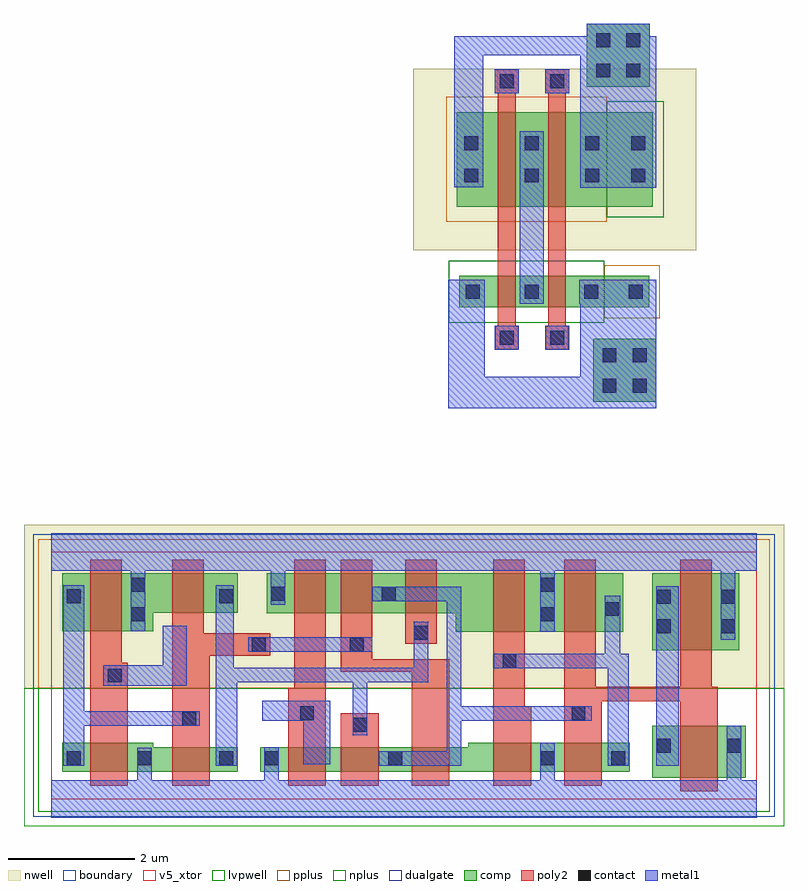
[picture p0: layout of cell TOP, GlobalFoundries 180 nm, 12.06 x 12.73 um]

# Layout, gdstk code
import gdstk
lib = gdstk.Library(unit=1e-6, precision=1e-09)
def R(c, l, rs):  # rectangles x0, y0, x1, y1
    for r in rs: c.add(gdstk.rectangle(r[:2], r[2:], *l))
def A(c, l, x, y, w, h, nx, ny, dx, dy):  # array of equal rectangles
    R(c, l, [(x+i*dx, y+j*dy, x+i*dx+w, y+j*dy+h) for i in range(nx) for j in range(ny)])
def P(c, l, *ps):  # polygons
    for p in ps: c.add(gdstk.Polygon(p, *l))
boundary = (0, 0)
nwell = (21, 0)
comp = (22, 0)
poly2 = (30, 0)
pplus = (31, 0)
nplus = (32, 0)
contact = (33, 0)
metal1 = (34, 0)
dualgate = (55, 0)
v5_xtor = (112, 1)
lvpwell = (204, 0)

gf180mcu_fd_sc_mcu7t5v0_ = lib.new_cell('gf180mcu_fd_sc_mcu7t5v0__latq_1')
R(gf180mcu_fd_sc_mcu7t5v0_, boundary, [(0,0,11.2,3.92)])
R(gf180mcu_fd_sc_mcu7t5v0_, nwell, [(-0.43,1.76,11.63,4.35)])
R(gf180mcu_fd_sc_mcu7t5v0_, comp, [(9.54,0.34,11.02,1.16), (9.54,2.36,10.92,3.58)])
P(gf180mcu_fd_sc_mcu7t5v0_, comp, [(0.18,0.435),(0.18,0.895),(1.62,0.895),(1.62,0.825),(2.96,0.825),(2.96,0.435)],
  [(0.18,2.66),(0.18,3.58),(2.96,3.58),(2.96,2.955),(1.62,2.955),(1.62,2.66)],
  [(6.42,2.655),(6.42,2.95),(3.42,2.95),(3.42,3.58),(9.08,3.58),(9.08,2.655)],
  [(3.32,0.43),(3.32,0.825),(6.62,0.825),(6.62,0.895),(9.18,0.895),(9.18,0.43)])
R(gf180mcu_fd_sc_mcu7t5v0_, poly2, [(4.6,0.21,5.2,1.36), (5.62,2.46,6.12,3.8)])
P(gf180mcu_fd_sc_mcu7t5v0_, poly2, [(0.62,0.21),(0.62,3.8),(1.12,3.8),(1.12,2.165),(1.22,2.165),(1.22,0.21)],
  [(1.92,0.21),(1.92,3.8),(2.42,3.8),(2.42,2.63),(3.475,2.63),(3.475,2.27),(2.52,2.27),(2.52,0.21)],
  [(3.76,0.21),(3.76,1.76),(3.86,1.76),(3.86,3.8),(4.36,3.8),(4.36,0.21)],
  [(5.72,0.21),(5.72,2.02),(4.6,2.02),(4.6,3.8),(5.1,3.8),(5.1,2.22),(6.32,2.22),(6.32,0.21)],
  [(7.02,0.21),(7.02,3.8),(7.52,3.8),(7.52,1.47),(7.62,1.47),(7.62,0.21)],
  [(9.98,0.12),(9.98,1.555),(8.74,1.555),(8.74,0.21),(8.14,0.21),(8.14,3.8),(8.64,3.8),(8.64,1.785),(9.98,1.785),(9.98,3.8),(10.48,3.8),(10.48,1.785),(10.58,1.785),(10.58,0.12)])
R(gf180mcu_fd_sc_mcu7t5v0_, pplus, [(-0.2,1.76,11.4,4.12)])
R(gf180mcu_fd_sc_mcu7t5v0_, nplus, [(-0.2,-0.2,11.4,1.76)])
R(gf180mcu_fd_sc_mcu7t5v0_, contact, [(0.25,0.535,0.47,0.755), (1.37,0.535,1.59,0.755), (2.67,0.535,2.89,0.755), (3.39,0.535,3.61,0.755), (5.35,0.535,5.57,0.755), (7.77,0.535,7.99,0.755), (8.89,0.535,9.11,0.755), (9.61,0.735,9.83,0.955), (10.73,0.735,10.95,0.955), (4.79,1.07,5.01,1.29), (2.08,1.165,2.3,1.385), (3.95,1.25,4.17,1.47), (8.26,1.25,8.48,1.47), (0.9,1.85,1.12,2.07), (7.165,2.08,7.385,2.3), (3.185,2.34,3.405,2.56), (4.74,2.34,4.96,2.56), (5.76,2.53,5.98,2.75), (9.61,2.63,9.83,2.85), (10.63,2.63,10.85,2.85), (1.27,2.82,1.49,3.04), (7.77,2.82,7.99,3.04), (8.79,2.905,9.01,3.125), (9.61,3.1,9.83,3.32), (10.63,3.1,10.85,3.32), (0.25,3.11,0.47,3.33), (2.67,3.11,2.89,3.33), (3.49,3.145,3.71,3.365), (5.25,3.145,5.47,3.365), (1.27,3.29,1.49,3.51), (7.77,3.29,7.99,3.51)])
R(gf180mcu_fd_sc_mcu7t5v0_, metal1, [(9.605,0.53,9.96,3.38), (3.125,2.335,5.1,2.565)])
P(gf180mcu_fd_sc_mcu7t5v0_, metal1, [(0.825,1.8),(0.825,2.12),(1.77,2.12),(1.77,2.75),(2.15,2.75),(2.15,1.8)],
  [(0.19,0.53),(0.19,3.39),(0.53,3.39),(0.53,1.39),(2.36,1.39),(2.36,1.16),(0.53,1.16),(0.53,0.53)],
  [(4,0.55),(4,1.24),(3.35,1.24),(3.35,1.56),(4.43,1.56),(4.43,0.55)],
  [(2.61,0.53),(2.61,3.39),(2.895,3.39),(2.895,2.085),(5.755,2.085),(5.755,2.81),(5.985,2.81),(5.985,1.855),(5.015,1.855),(5.015,1.01),(4.785,1.01),(4.785,1.855),(2.95,1.855),(2.95,0.53)],
  [(5.2,0.53),(5.2,0.76),(6.275,0.76),(6.275,3.14),(5.1,3.14),(5.1,3.37),(6.505,3.37),(6.505,1.475),(8.58,1.475),(8.58,1.245),(6.505,1.245),(6.505,0.53)],
  [(8.83,0.53),(8.83,2.075),(7.025,2.075),(7.025,2.305),(8.785,2.305),(8.785,3.225),(9.035,3.225),(9.035,2.305),(9.17,2.305),(9.17,0.53)],
  [(0,-0.3),(0,0.3),(1.365,0.3),(1.365,0.815),(1.595,0.815),(1.595,0.3),(3.385,0.3),(3.385,0.825),(3.615,0.825),(3.615,0.3),(7.765,0.3),(7.765,0.895),(7.995,0.895),(7.995,0.3),(10.725,0.3),(10.725,1.16),(10.955,1.16),(10.955,0.3),(11.2,0.3),(11.2,-0.3)],
  [(10.625,2.53),(10.625,3.62),(7.995,3.62),(7.995,2.655),(7.765,2.655),(7.765,3.62),(3.715,3.62),(3.715,3.085),(3.485,3.085),(3.485,3.62),(1.495,3.62),(1.495,2.66),(1.265,2.66),(1.265,3.62),(0,3.62),(0,4.22),(11.2,4.22),(11.2,3.62),(10.855,3.62),(10.855,2.53)])
R(gf180mcu_fd_sc_mcu7t5v0_, dualgate, [(-0.28,-0.28,11.48,4.2)])
R(gf180mcu_fd_sc_mcu7t5v0_, v5_xtor, [(0,0,11.2,3.92)])
R(gf180mcu_fd_sc_mcu7t5v0_, lvpwell, [(-0.43,-0.43,11.63,1.76)])
gf180mcu_fd_sc_mcu7t5v0_.add(gdstk.Label('Q', (9.8,1.96), layer=34, texttype=10))
gf180mcu_fd_sc_mcu7t5v0_.add(gdstk.Label('VDD', (5.6,3.92), layer=34, texttype=10))
gf180mcu_fd_sc_mcu7t5v0_.add(gdstk.Label('VSS', (5.6,0), layer=34, texttype=10))
gf180mcu_fd_sc_mcu7t5v0_.add(gdstk.Label('D', (4.2,0.84), layer=34, texttype=10))
gf180mcu_fd_sc_mcu7t5v0_.add(gdstk.Label('E', (1.4,1.96), layer=34, texttype=10))
gf180mcu_fd_sc_mcu7t5v0_.add(gdstk.Label('& Vendor GLOBALFOUNDRIES', (0,2), layer=63, texttype=63))
gf180mcu_fd_sc_mcu7t5v0_.add(gdstk.Label('& Product GF018hv5v_mcu_sc7', (0,1.5), layer=63, texttype=63))
gf180mcu_fd_sc_mcu7t5v0_.add(gdstk.Label('& Version 2015q2v1', (0,1), layer=63, texttype=63))
gf180mcu_fd_sc_mcu7t5v0_.add(gdstk.Label('& Metric 1.00', (0,0.5), layer=63, texttype=63))
gf180mcu_fd_sc_mcu7t5v0_.add(gdstk.Label('VNW', (0.345,3.92), layer=21, texttype=10))
gf180mcu_fd_sc_mcu7t5v0_.add(gdstk.Label('VPW', (0.34,-0.085), layer=204, texttype=10))

nfet = lib.new_cell('nfet')
R(nfet, comp, [(-0.42,0,0,0.5), (0,0,1.46,0.5), (1.46,0,1.88,0.5), (1.88,0,2.59,0.5)])
R(nfet, poly2, [(0.15,-0.66,0.51,-0.3), (0.95,-0.66,1.31,-0.3), (0.19,-0.3,0.47,0.8), (0.99,-0.3,1.27,0.8)])
R(nfet, pplus, [(1.88,-0.17,2.76,0.67)])
R(nfet, nplus, [(-0.59,-0.24,1.88,0.74)])
A(nfet, contact, -0.32, 0.14, 0.22, 0.22, 3, 1, 0.94, 0)
R(nfet, contact, [(0.22,-0.59,0.44,-0.37), (1.02,-0.59,1.24,-0.37), (2.27,0.14,2.49,0.36)])
A(nfet, metal1, -0.4, 0.059, 0.38, 0.382, 3, 1, 0.94, 0)
R(nfet, metal1, [(0.14,-0.671,0.52,-0.289), (0.94,-0.671,1.32,-0.289), (2.19,0.059,2.57,0.441)])

via_dev = lib.new_cell('via_dev')
R(via_dev, comp, [(0,0,1,1)])
R(via_dev, contact, [(0.15,0.15,0.37,0.37), (0.63,0.15,0.85,0.37), (0.15,0.63,0.37,0.85), (0.63,0.63,0.85,0.85)])
R(via_dev, metal1, [(0,0,1,1)])

pfet = lib.new_cell('pfet')
R(pfet, nwell, [(-1.15,-0.69,3.34,2.19)])
R(pfet, comp, [(-0.46,0,0,1.5), (0,0,1.46,1.5), (1.46,0,1.92,1.5), (1.92,0,2.65,1.5)])
R(pfet, poly2, [(0.19,-0.3,0.47,1.8), (0.99,-0.3,1.27,1.8), (0.14,1.8,0.52,2.18), (0.94,1.8,1.32,2.18)])
R(pfet, pplus, [(-0.63,-0.24,1.92,1.74)])
R(pfet, nplus, [(1.92,-0.17,2.82,1.67)])
A(pfet, contact, -0.34, 0.385, 0.22, 0.22, 3, 2, 0.96, 0.51)
R(pfet, contact, [(2.31,0.385,2.53,0.605), (2.31,0.895,2.53,1.115), (0.22,1.88,0.44,2.1), (1.02,1.88,1.24,2.1)])
A(pfet, metal1, -0.42, 0.305, 0.38, 0.89, 3, 1, 0.96, 0)
R(pfet, metal1, [(2.23,0.305,2.61,1.195), (0.14,1.799,0.52,2.181), (0.94,1.799,1.32,2.181)])

top = lib.new_cell('TOP')
R(top, poly2, [(7.29,8.2,7.57,9.2), (6.49,8.3,6.77,9.1)])
R(top, metal1, [(5.7,6.1,9,6.6), (5.7,6.6,6.28,8.141), (7.8,6.6,9,8.141), (6.84,7.8,7.22,10.495), (7.8,9.6,9,11.6), (5.8,9.605,6.26,11.7), (7.8,11.6,9,11.7), (5.8,11.7,9,12)])
top.add(gdstk.Reference(gf180mcu_fd_sc_mcu7t5v0_, (-0.6,-0.1)))
top.add(gdstk.Reference(nfet, (6.3,7.7)))
top.add(gdstk.Reference(via_dev, (8,6.2)))
top.add(gdstk.Reference(pfet, (6.3,9.3)))
top.add(gdstk.Reference(via_dev, (7.9,11.2)))

lib.write_gds('TOP.gds')
